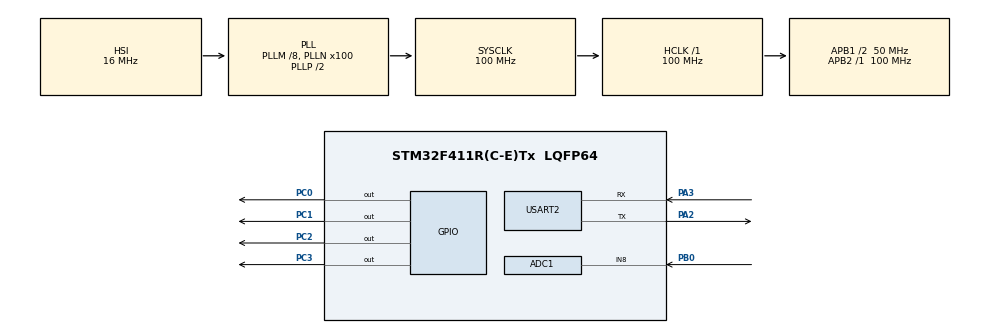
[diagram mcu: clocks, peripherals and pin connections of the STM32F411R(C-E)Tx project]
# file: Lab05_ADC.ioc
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ADC1.Channel-2\#ChannelRegularConversion=ADC_CHANNEL_8
ADC1.ContinuousConvMode=ENABLE
ADC1.DataAlign=ADC_DATAALIGN_RIGHT
ADC1.EOCSelection=ADC_EOC_SEQ_CONV
ADC1.NbrOfConversionFlag=1
ADC1.Rank-2\#ChannelRegularConversion=1
ADC1.SamplingTime-2\#ChannelRegularConversion=ADC_SAMPLETIME_3CYCLES
ADC1.master=1
Mcu.Family=STM32F4
Mcu.Name=STM32F411R(C-E)Tx
Mcu.Package=LQFP64
NVIC.PriorityGroup=NVIC_PRIORITYGROUP_4
PA2.Mode=Asynchronous
PA2.Signal=USART2_TX
PA3.Mode=Asynchronous
PA3.Signal=USART2_RX
PB0.Signal=ADCx_IN8
PC0.Signal=GPIO_Output
PC1.Signal=GPIO_Output
PC2.Signal=GPIO_Output
PC3.Signal=GPIO_Output
ProjectManager.HeapSize=0x200
ProjectManager.StackSize=0x400
ProjectManager.TargetToolchain=MDK-ARM V5
RCC.48MHZClocksFreq_Value=50000000
RCC.AHBFreq_Value=100000000
RCC.APB1CLKDivider=RCC_HCLK_DIV2
RCC.APB1Freq_Value=50000000
RCC.APB1TimFreq_Value=100000000
RCC.APB2Freq_Value=100000000
RCC.APB2TimFreq_Value=100000000
RCC.CortexFreq_Value=100000000
RCC.HCLKFreq_Value=100000000
RCC.HSE_VALUE=25000000
RCC.HSI_VALUE=16000000
RCC.LSE_VALUE=32768
RCC.PLLM=8
RCC.PLLN=100
RCC.SYSCLKFreq_VALUE=100000000
RCC.SYSCLKSource=RCC_SYSCLKSOURCE_PLLCLK
RCC.VCOOutputFreq_Value=200000000
SH.ADCx_IN8.0=ADC1_IN8,IN8
USART2.VirtualMode=VM_ASYNC
board=custom

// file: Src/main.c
/* USER CODE BEGIN Header */
/**
  ******************************************************************************
  * @file           : main.c
  * @brief          : Main program body
  ******************************************************************************
  ** This notice applies to any and all portions of this file
  * that are not between comment pairs USER CODE BEGIN and
  * USER CODE END. Other portions of this file, whether
  * inserted by the user or by software development tools
  * are owned by their respective copyright owners.
  *
  * COPYRIGHT(c) 2019 STMicroelectronics
  *
  * Redistribution and use in source and binary forms, with or without modification,
  * are permitted provided that the following conditions are met:
  *   1. Redistributions of source code must retain the above copyright notice,
  *      this list of conditions and the following disclaimer.
  *   2. Redistributions in binary form must reproduce the above copyright notice,
  *      this list of conditions and the following disclaimer in the documentation
  *      and/or other materials provided with the distribution.
  *   3. Neither the name of STMicroelectronics nor the names of its contributors
  *      may be used to endorse or promote products derived from this software
  *      without specific prior written permission.
  *
  * THIS SOFTWARE IS PROVIDED BY THE COPYRIGHT HOLDERS AND CONTRIBUTORS "AS IS"
  * AND ANY EXPRESS OR IMPLIED WARRANTIES, INCLUDING, BUT NOT LIMITED TO, THE
  * IMPLIED WARRANTIES OF MERCHANTABILITY AND FITNESS FOR A PARTICULAR PURPOSE ARE
  * DISCLAIMED. IN NO EVENT SHALL THE COPYRIGHT HOLDER OR CONTRIBUTORS BE LIABLE
  * FOR ANY DIRECT, INDIRECT, INCIDENTAL, SPECIAL, EXEMPLARY, OR CONSEQUENTIAL
  * DAMAGES (INCLUDING, BUT NOT LIMITED TO, PROCUREMENT OF SUBSTITUTE GOODS OR
  * SERVICES; LOSS OF USE, DATA, OR PROFITS; OR BUSINESS INTERRUPTION) HOWEVER
  * CAUSED AND ON ANY THEORY OF LIABILITY, WHETHER IN CONTRACT, STRICT LIABILITY,
  * OR TORT (INCLUDING NEGLIGENCE OR OTHERWISE) ARISING IN ANY WAY OUT OF THE USE
  * OF THIS SOFTWARE, EVEN IF ADVISED OF THE POSSIBILITY OF SUCH DAMAGE.
  *
  ******************************************************************************
  */
/* USER CODE END Header */

#include "main.h"
#include "adc.h"
#include "usart.h"
#include "gpio.h"

/* USER CODE BEGIN Includes */
#include "string.h"
/* USER CODE END Includes */

void SystemClock_Config(void);
/* USER CODE BEGIN PFP */
void displayHEX(uint32_t);
/* USER CODE END PFP */

int main(void)
{

  /* MCU Configuration--------------------------------------------------------*/

  /* Reset of all peripherals, Initializes the Flash interface and the Systick. */
  HAL_Init();

  /* Configure the system clock */
  SystemClock_Config();

  /* Initialize all configured peripherals */
  MX_GPIO_Init();
  MX_USART2_UART_Init();
  MX_ADC1_Init();

  /* Infinite loop */
  /* USER CODE BEGIN WHILE */
	volatile uint32_t adc_val = 0;
	HAL_ADC_Start(&hadc1);
  while (1)
  {
		while(HAL_ADC_PollForConversion(&hadc1,500) != HAL_OK);
		adc_val = HAL_ADC_GetValue(&hadc1);
		if(adc_val > 3500){
			GPIOC->ODR = 0xf;
		} else if(adc_val > 1200){
			GPIOC->ODR = 0x7;
		} else if(adc_val > 450){
			GPIOC->ODR = 0x3;
		} else if(adc_val > 80){
			GPIOC->ODR = 0x1;
		} else {
			GPIOC->ODR = 0x0;
		}
		//rate = adc_val / 819;
		displayHEX(adc_val);
		HAL_Delay(300);
    /* USER CODE END WHILE */

  }
}

void SystemClock_Config(void)
{
  RCC_OscInitTypeDef RCC_OscInitStruct = {0};
  RCC_ClkInitTypeDef RCC_ClkInitStruct = {0};

  /**Configure the main internal regulator output voltage
  */
  __HAL_RCC_PWR_CLK_ENABLE();
  __HAL_PWR_VOLTAGESCALING_CONFIG(PWR_REGULATOR_VOLTAGE_SCALE1);
  /**Initializes the CPU, AHB and APB busses clocks
  */
  RCC_OscInitStruct.OscillatorType = RCC_OSCILLATORTYPE_HSI;
  RCC_OscInitStruct.HSIState = RCC_HSI_ON;
  RCC_OscInitStruct.HSICalibrationValue = RCC_HSICALIBRATION_DEFAULT;
  RCC_OscInitStruct.PLL.PLLState = RCC_PLL_ON;
  RCC_OscInitStruct.PLL.PLLSource = RCC_PLLSOURCE_HSI;
  RCC_OscInitStruct.PLL.PLLM = 8;
  RCC_OscInitStruct.PLL.PLLN = 100;
  RCC_OscInitStruct.PLL.PLLP = RCC_PLLP_DIV2;
  RCC_OscInitStruct.PLL.PLLQ = 4;
  if (HAL_RCC_OscConfig(&RCC_OscInitStruct) != HAL_OK)
  {
    Error_Handler();
  }
  /**Initializes the CPU, AHB and APB busses clocks
  */
  RCC_ClkInitStruct.ClockType = RCC_CLOCKTYPE_HCLK|RCC_CLOCKTYPE_SYSCLK
                              |RCC_CLOCKTYPE_PCLK1|RCC_CLOCKTYPE_PCLK2;
  RCC_ClkInitStruct.SYSCLKSource = RCC_SYSCLKSOURCE_PLLCLK;
  RCC_ClkInitStruct.AHBCLKDivider = RCC_SYSCLK_DIV1;
  RCC_ClkInitStruct.APB1CLKDivider = RCC_HCLK_DIV2;
  RCC_ClkInitStruct.APB2CLKDivider = RCC_HCLK_DIV1;

  if (HAL_RCC_ClockConfig(&RCC_ClkInitStruct, FLASH_LATENCY_3) != HAL_OK)
  {
    Error_Handler();
  }
}

/* USER CODE BEGIN 4 */
void displayHEX(uint32_t value){
	char str[13];
	sprintf(str, "0x%08x\r\n", value);
	while(__HAL_UART_GET_FLAG(&huart2,UART_FLAG_TC)==RESET);
	HAL_UART_Transmit(&huart2, (uint8_t*) str, strlen(str),1000);
}
/* USER CODE END 4 */

void Error_Handler(void)
{
}

/************************ (C) COPYRIGHT STMicroelectronics *****END OF FILE****/
